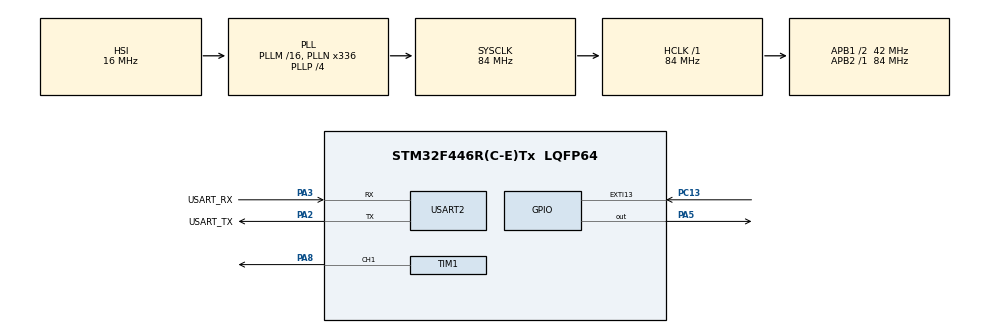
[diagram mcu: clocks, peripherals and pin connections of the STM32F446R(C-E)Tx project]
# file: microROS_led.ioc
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Dma.Request0=USART2_RX
Dma.Request1=USART2_TX
Dma.USART2_RX.0.Direction=DMA_PERIPH_TO_MEMORY
Dma.USART2_RX.0.FIFOMode=DMA_FIFOMODE_DISABLE
Dma.USART2_RX.0.Instance=DMA1_Stream5
Dma.USART2_RX.0.MemDataAlignment=DMA_MDATAALIGN_BYTE
Dma.USART2_RX.0.MemInc=DMA_MINC_ENABLE
Dma.USART2_RX.0.Mode=DMA_NORMAL
Dma.USART2_RX.0.PeriphDataAlignment=DMA_PDATAALIGN_BYTE
Dma.USART2_RX.0.PeriphInc=DMA_PINC_DISABLE
Dma.USART2_RX.0.Priority=DMA_PRIORITY_VERY_HIGH
Dma.USART2_TX.1.Direction=DMA_MEMORY_TO_PERIPH
Dma.USART2_TX.1.FIFOMode=DMA_FIFOMODE_DISABLE
Dma.USART2_TX.1.Instance=DMA1_Stream6
Dma.USART2_TX.1.MemDataAlignment=DMA_MDATAALIGN_BYTE
Dma.USART2_TX.1.MemInc=DMA_MINC_ENABLE
Dma.USART2_TX.1.Mode=DMA_NORMAL
Dma.USART2_TX.1.PeriphDataAlignment=DMA_PDATAALIGN_BYTE
Dma.USART2_TX.1.PeriphInc=DMA_PINC_DISABLE
Dma.USART2_TX.1.Priority=DMA_PRIORITY_VERY_HIGH
FREERTOS.Tasks01=defaultTask,24,3000,StartDefaultTask,Default,NULL,Dynamic,NULL,NULL;Fade,8,200,StartTask02,Default,NULL,Dynamic,NULL,NULL
FREERTOS.configTOTAL_HEAP_SIZE=50000
FREERTOS.configUSE_NEWLIB_REENTRANT=1
IWDG.Prescaler=IWDG_PRESCALER_64
IWDG.Reload=2500
Mcu.Family=STM32F4
Mcu.Name=STM32F446R(C-E)Tx
Mcu.Package=LQFP64
NUCLEO-F446RE.BUTTON=1
NUCLEO-F446RE.LD1=true
NVIC.DMA1_Stream5_IRQn=true\:5\:0\:false\:false\:true\:true\:false\:true\:true
NVIC.DMA1_Stream6_IRQn=true\:5\:0\:false\:false\:true\:true\:false\:true\:true
NVIC.EXTI15_10_IRQn=true\:5\:0\:false\:false\:true\:true\:false\:true\:true
NVIC.PriorityGroup=NVIC_PRIORITYGROUP_4
NVIC.TIM6_DAC_IRQn=true\:15\:0\:false\:false\:true\:false\:false\:true\:true
NVIC.TimeBase=TIM6_DAC_IRQn
NVIC.TimeBaseIP=TIM6
NVIC.USART2_IRQn=true\:5\:0\:false\:false\:true\:true\:true\:true\:true
PA13.GPIO_Label=TMS
PA13.Signal=SYS_JTMS-SWDIO
PA14.GPIO_Label=TCK
PA14.Signal=SYS_JTCK-SWCLK
PA2.GPIO_Label=USART_TX
PA2.Mode=Asynchronous
PA2.Signal=USART2_TX
PA3.GPIO_Label=USART_RX
PA3.Mode=Asynchronous
PA3.Signal=USART2_RX
PA5.Signal=GPIO_Output
PA8.Signal=S_TIM1_CH1
PB3.GPIO_Label=SWO
PB3.Signal=SYS_JTDO-SWO
PC13.Signal=GPXTI13
PC14-OSC32_IN.Signal=RCC_OSC32_IN
PC15-OSC32_OUT.Signal=RCC_OSC32_OUT
PH0-OSC_IN.Signal=RCC_OSC_IN
PH1-OSC_OUT.Signal=RCC_OSC_OUT
ProjectManager.HeapSize=0x200
ProjectManager.StackSize=0x400
ProjectManager.TargetToolchain=STM32CubeIDE
RCC.AHBFreq_Value=84000000
RCC.APB1CLKDivider=RCC_HCLK_DIV2
RCC.APB1Freq_Value=42000000
RCC.APB1TimFreq_Value=84000000
RCC.APB2Freq_Value=84000000
RCC.APB2TimFreq_Value=84000000
RCC.CortexFreq_Value=84000000
RCC.FLatency-AdvancedSettings=FLASH_LATENCY_2
RCC.HCLKFreq_Value=84000000
RCC.HSE_VALUE=8000000
RCC.HSI_VALUE=16000000
RCC.LSE_VALUE=32768
RCC.PLLN=336
RCC.PLLP=RCC_PLLP_DIV4
RCC.SYSCLKFreq_VALUE=84000000
RCC.SYSCLKSource=RCC_SYSCLKSOURCE_PLLCLK
RCC.USBFreq_Value=168000000
RCC.VCOOutputFreq_Value=336000000
SH.S_TIM1_CH1.0=TIM1_CH1,PWM Generation1 CH1
TIM1.Channel-PWM\ Generation1\ CH1=TIM_CHANNEL_1
TIM1.Prescaler=83
USART2.VirtualMode=VM_ASYNC
VP_FREERTOS_VS_CMSIS_V2.Mode=CMSIS_V2
VP_IWDG_VS_IWDG.Mode=IWDG_Activate
VP_NUCLEO-F446RE_VS_BSP_COMMON.Mode=COMMON
VP_SYS_VS_tim6.Mode=TIM6
board=NUCLEO-F446RE

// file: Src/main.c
/* USER CODE BEGIN Header */
/**
  ******************************************************************************
  * @file           : main.c
  * @brief          : Main program body
  ******************************************************************************
  * @attention
  *
  * Copyright (c) 2026 STMicroelectronics.
  * All rights reserved.
  *
  * This software is licensed under terms that can be found in the LICENSE file
  * in the root directory of this software component.
  * If no LICENSE file comes with this software, it is provided AS-IS.
  *
  ******************************************************************************
  */
/* USER CODE END Header */
#include "main.h"
#include "cmsis_os.h"
#include "dma.h"
#include "iwdg.h"
#include "tim.h"
#include "usart.h"
#include "gpio.h"

/* USER CODE BEGIN Includes */
#include "rcl/rcl.h"
#include "rclc/rclc.h"
#include "rclc/executor.h"
#include <uxr/client/transport.h>
#include <rmw_microxrcedds_c/config.h>
#include "rmw_microros/rmw_microros.h"
#include <std_msgs/msg/int32.h>

/* USER CODE END Includes */

/* USER CODE BEGIN PTD */
typedef enum states {
  WAITING_AGENT,
  AGENT_AVAILABLE,
  AGENT_CONNECTED,
  AGENT_DISCONNECTED
} state_t;

state_t state = WAITING_AGENT;
uint32_t last_ping_time = 0;
const uint32_t HEARTBEAT_INTERVAL_MS = 1000;
/* USER CODE END PTD */

void SystemClock_Config(void);
void MX_FREERTOS_Init(void);
/* USER CODE BEGIN PFP */
void StartDefaultTask(void *argument);
void StartTask02(void *argument);
/* USER CODE END PFP */

int main(void)
{

  /* MCU Configuration--------------------------------------------------------*/

  /* Reset of all peripherals, Initializes the Flash interface and the Systick. */
  HAL_Init();

  /* Configure the system clock */
  SystemClock_Config();

  /* Initialize all configured peripherals */
  MX_GPIO_Init();
  MX_DMA_Init();
  MX_USART2_UART_Init();
  MX_TIM1_Init();
  MX_IWDG_Init();

  /* Init scheduler */
  osKernelInitialize();  /* Call init function for freertos objects (in cmsis_os2.c) */
  MX_FREERTOS_Init();

  /* Initialize leds */
  BSP_LED_Init(LED2);

  /* Initialize USER push-button, will be used to trigger an interrupt each time it's pressed.*/
  BSP_PB_Init(BUTTON_USER, BUTTON_MODE_EXTI);

  /* Start scheduler */
  osKernelStart();

  /* We should never get here as control is now taken by the scheduler */

  /* Infinite loop */
  /* USER CODE BEGIN WHILE */

  // 1. Mark the start time of the connection attempt
  uint32_t start_time = HAL_GetTick();
  uint8_t connected = 0;
  int a= -1;

  while ((HAL_GetTick() - start_time) < 5000)
  {
      // Keep feeding the watchdog as long as we are within the 5-second window
//      HAL_IWDG_Refresh(&hiwdg);
//      int a= hiwdg->In
      // Attempt your connection (must be a non-blocking check)
      state = (RMW_RET_OK == rmw_uros_ping_agent(100, 3)) ? AGENT_AVAILABLE : WAITING_AGENT;
      if (state == AGENT_AVAILABLE)
      {
    	  //printf("Connected\n");

    	  if (__HAL_RCC_GET_FLAG(RCC_FLAG_IWDGRST)) {

    	         a = 1;
    	         // Clear the flags so it doesn't trigger false positives next boot
    	         __HAL_RCC_CLEAR_RESET_FLAGS();
    	     } else {
    	         a = 0;
    	     }
          connected = 1;
          break; // Exit loop early if connection succeeds
      }

      HAL_Delay(10); // Small yielding pause

  }

  // 2. If connection failed, trigger the hardware watchdog reset
  if (!connected)
  {
      /*
       * Trap the CPU here. Because we stopped calling HAL_IWDG_Refresh(),
       * the IWDG counter will hit 0 and trigger a hard system reset.
       */
//	  while(1){
//
//	  }
//     NVIC_SystemReset();
//     N

  }
  // 3. Continue regular application code here if connected == 1

  while (1)
  {

    /* USER CODE END WHILE */

  }
}

void SystemClock_Config(void)
{
  RCC_OscInitTypeDef RCC_OscInitStruct = {0};
  RCC_ClkInitTypeDef RCC_ClkInitStruct = {0};

  /** Configure the main internal regulator output voltage
  */
  __HAL_RCC_PWR_CLK_ENABLE();
  __HAL_PWR_VOLTAGESCALING_CONFIG(PWR_REGULATOR_VOLTAGE_SCALE3);

  /** Initializes the RCC Oscillators according to the specified parameters
  * in the RCC_OscInitTypeDef structure.
  */
  RCC_OscInitStruct.OscillatorType = RCC_OSCILLATORTYPE_HSI|RCC_OSCILLATORTYPE_LSI;
  RCC_OscInitStruct.HSIState = RCC_HSI_ON;
  RCC_OscInitStruct.HSICalibrationValue = RCC_HSICALIBRATION_DEFAULT;
  RCC_OscInitStruct.LSIState = RCC_LSI_ON;
  RCC_OscInitStruct.PLL.PLLState = RCC_PLL_ON;
  RCC_OscInitStruct.PLL.PLLSource = RCC_PLLSOURCE_HSI;
  RCC_OscInitStruct.PLL.PLLM = 16;
  RCC_OscInitStruct.PLL.PLLN = 336;
  RCC_OscInitStruct.PLL.PLLP = RCC_PLLP_DIV4;
  RCC_OscInitStruct.PLL.PLLQ = 2;
  RCC_OscInitStruct.PLL.PLLR = 2;
  if (HAL_RCC_OscConfig(&RCC_OscInitStruct) != HAL_OK)
  {
    Error_Handler();
  }

  /** Initializes the CPU, AHB and APB buses clocks
  */
  RCC_ClkInitStruct.ClockType = RCC_CLOCKTYPE_HCLK|RCC_CLOCKTYPE_SYSCLK
                              |RCC_CLOCKTYPE_PCLK1|RCC_CLOCKTYPE_PCLK2;
  RCC_ClkInitStruct.SYSCLKSource = RCC_SYSCLKSOURCE_PLLCLK;
  RCC_ClkInitStruct.AHBCLKDivider = RCC_SYSCLK_DIV1;
  RCC_ClkInitStruct.APB1CLKDivider = RCC_HCLK_DIV2;
  RCC_ClkInitStruct.APB2CLKDivider = RCC_HCLK_DIV1;

  if (HAL_RCC_ClockConfig(&RCC_ClkInitStruct, FLASH_LATENCY_2) != HAL_OK)
  {
    Error_Handler();
  }
}

void HAL_TIM_PeriodElapsedCallback(TIM_HandleTypeDef *htim)
{
  if (htim->Instance == TIM6)
  {
    HAL_IncTick();
  }
}

void Error_Handler(void)
{
  __disable_irq();
  while (1)
  {
  }
}

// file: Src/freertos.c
/* USER CODE BEGIN Header */
/**
  ******************************************************************************
  * File Name          : freertos.c
  * Description        : Code for freertos applications
  ******************************************************************************
  * @attention
  *
  * Copyright (c) 2026 STMicroelectronics.
  * All rights reserved.
  *
  * This software is licensed under terms that can be found in the LICENSE file
  * in the root directory of this software component.
  * If no LICENSE file comes with this software, it is provided AS-IS.
  *
  ******************************************************************************
  */
/* USER CODE END Header */

#include "FreeRTOS.h"
#include "task.h"
#include "main.h"
#include "cmsis_os.h"

/* USER CODE BEGIN Includes */
#include <string.h>
#include <stdio.h>
#include <rcl/rcl.h>
#include <rcl/error_handling.h>
#include <rclc/rclc.h>
#include <rclc/executor.h>
#include <uxr/client/transport.h>
#include <rmw_microxrcedds_c/config.h>
#include <rmw_microros/rmw_microros.h>
#include <std_msgs/msg/string.h>
#include <std_msgs/msg/int32.h>
#include <std_msgs/msg/bool.h>
#include "sys/time.h"
#include "iwdg.h"
/* USER CODE END Includes */

/* USER CODE BEGIN Variables */
extern UART_HandleTypeDef huart2;
extern TIM_HandleTypeDef htim1;

bool cubemx_transport_open(struct uxrCustomTransport * transport);
bool cubemx_transport_close(struct uxrCustomTransport * transport);
size_t cubemx_transport_write(struct uxrCustomTransport* transport, const uint8_t * buf, size_t len, uint8_t * err);
size_t cubemx_transport_read(struct uxrCustomTransport* transport, uint8_t * buf, size_t len, int timeout, uint8_t * err);

#define LED_PORT GPIOA
#define LED_PIN GPIO_PIN_5

rcl_subscription_t led_control_subscriber;
rcl_subscription_t fade_speed_subscriber;
rcl_subscription_t custom_message_subscriber;

std_msgs__msg__Bool   led_control_msg;
std_msgs__msg__Int32  fade_speed_msg;
std_msgs__msg__String custom_message_msg;
char custom_message_buffer[50];

rcl_publisher_t counter_publisher;
rcl_publisher_t string_publisher;
std_msgs__msg__Int32 counter_msg;
std_msgs__msg__String string_msg;
char string_buffer[50];
rcl_timer_t timer;

void * microros_allocate(size_t size, void * state);
void microros_deallocate(void * pointer, void * state);
void * microros_reallocate(void * pointer, size_t size, void * state);
void * microros_zero_allocate(size_t number_of_elements, size_t size_of_element, void * state);

volatile bool led_manual_override = false;
volatile bool led_manual_state = false;
volatile int32_t fade_step = 10;          // default step size, same as before
volatile bool custom_message_active = false;
char custom_message_storage[50];

/* USER CODE END Variables */
/* Definitions for defaultTask */
osThreadId_t defaultTaskHandle;
const osThreadAttr_t defaultTask_attributes = {
  .name = "defaultTask",
  .stack_size = 3000 * 4,
  .priority = (osPriority_t) osPriorityNormal,
};
/* Definitions for Fade */
osThreadId_t FadeHandle;
const osThreadAttr_t Fade_attributes = {
  .name = "Fade",
  .stack_size = 200 * 4,
  .priority = (osPriority_t) osPriorityLow,
};

void StartDefaultTask(void *argument);
void StartTask02(void *argument);

void MX_FREERTOS_Init(void); /* (MISRA C 2004 rule 8.1) */

void MX_FREERTOS_Init(void) {

  /* Create the thread(s) */
  /* creation of defaultTask */
  defaultTaskHandle = osThreadNew(StartDefaultTask, NULL, &defaultTask_attributes);

  /* creation of Fade */
  FadeHandle = osThreadNew(StartTask02, NULL, &Fade_attributes);

}

/* USER CODE BEGIN Header_StartDefaultTask */
void timer_callback(rcl_timer_t * timer, int64_t last_call_time)
{
  (void) last_call_time;
  if (timer != NULL) {

    if (led_manual_override) {
      HAL_GPIO_WritePin(LED_PORT, LED_PIN, led_manual_state ? GPIO_PIN_SET : GPIO_PIN_RESET);
    } else {
      HAL_GPIO_TogglePin(LED_PORT, LED_PIN);
    }

    rcl_ret_t ret1 = rcl_publish(&counter_publisher, &counter_msg, NULL);
    (void)ret1;
    counter_msg.data++;

    if (custom_message_active) {
      snprintf(string_buffer, sizeof(string_buffer), "%s", custom_message_storage);
    } else {
      snprintf(string_buffer, sizeof(string_buffer), "Hello from Nucleo! count=%ld", (long)counter_msg.data);
    }
    string_msg.data.data = string_buffer;
    string_msg.data.size = strlen(string_buffer);
    string_msg.data.capacity = sizeof(string_buffer);
    rcl_ret_t ret2 = rcl_publish(&string_publisher, &string_msg, NULL);
    (void)ret2;
  }
}

int _gettimeofday(struct timeval *tv, void *tzvp) {
  (void)tzvp;
  uint32_t tick = HAL_GetTick();
  tv->tv_sec = tick / 1000;
  tv->tv_usec = (tick % 1000) * 1000;
  return 0;
}

void led_control_callback(const void *msgin) {
  const std_msgs__msg__Bool * msg = (const std_msgs__msg__Bool *) msgin;
  led_manual_override = true;
  led_manual_state = msg->data;
}

void fade_speed_callback(const void *msgin) {
  const std_msgs__msg__Int32 * msg = (const std_msgs__msg__Int32 *) msgin;
  if (msg->data >= 0 && msg->data <= 999) {
    fade_step = msg->data;
  }
}

void custom_message_callback(const void * msgin) {
  const std_msgs__msg__String * msg = (const std_msgs__msg__String *) msgin;
  size_t len = msg->data.size;
  if (len >= sizeof(custom_message_storage)) {
    len = sizeof(custom_message_storage) - 1;
  }
  memcpy(custom_message_storage, msg->data.data, len);
  custom_message_storage[len] = '\0';
  custom_message_active = true;
}
/**
  * @brief  Function implementing the defaultTask thread.
  * @param  argument: Not used
  * @retval None
  */
/* USER CODE END Header_StartDefaultTask */
void StartDefaultTask(void *argument)
{
  /* USER CODE BEGIN StartDefaultTask */
	rmw_uros_set_custom_transport(
	    true,
	    (void *) &huart2,
	    cubemx_transport_open,
	    cubemx_transport_close,
	    cubemx_transport_write,
	    cubemx_transport_read);

	  rcl_allocator_t allocator = rcl_get_default_allocator();
	  rclc_support_t support;
	  rclc_support_init(&support, 0, NULL, &allocator);

	  rcl_node_t node;
	  rclc_node_init_default(&node, "nucleo_led_node", "", &support);

	  HAL_IWDG_Refresh(&hiwdg);
	  rclc_publisher_init_default(
	    &counter_publisher,
	    &node,
	    ROSIDL_GET_MSG_TYPE_SUPPORT(std_msgs, msg, Int32),
	    "led_blink_count");
	  HAL_IWDG_Refresh(&hiwdg);
	  rclc_publisher_init_default(
	    &string_publisher,
	    &node,
	    ROSIDL_GET_MSG_TYPE_SUPPORT(std_msgs, msg, String),
	    "nucleo_chatter");
	  HAL_IWDG_Refresh(&hiwdg);
	  rclc_subscription_init_default(
		&led_control_subscriber, &node,
		ROSIDL_GET_MSG_TYPE_SUPPORT(std_msgs, msg, Bool),
		"led_control"
	  );
	  HAL_IWDG_Refresh(&hiwdg);
	  rclc_subscription_init_default(
		&fade_speed_subscriber, &node,
		ROSIDL_GET_MSG_TYPE_SUPPORT(std_msgs, msg, Int32),
		"fade_speed"
	  );
	  HAL_IWDG_Refresh(&hiwdg);
	  rclc_subscription_init_default(
			  &custom_message_subscriber, &node,
			  ROSIDL_GET_MSG_TYPE_SUPPORT(std_msgs,msg, String),
			  "custom_message"
			  );
	  HAL_IWDG_Refresh(&hiwdg);
	  const unsigned int timer_period_ms = 500;
	  rclc_timer_init_default2(
	    &timer,
	    &support,
	    RCL_MS_TO_NS(timer_period_ms),
	    timer_callback,
		true);
	  HAL_IWDG_Refresh(&hiwdg);
	  rclc_executor_t executor;
	  rclc_executor_init(&executor, &support.context, 4, &allocator);
	  rclc_executor_add_timer(&executor, &timer);

	  rclc_executor_add_subscription(
	    &executor, &led_control_subscriber, &led_control_msg,
	    &led_control_callback, ON_NEW_DATA);

	  rclc_executor_add_subscription(
	    &executor, &fade_speed_subscriber, &fade_speed_msg,
	    &fade_speed_callback, ON_NEW_DATA);
	  HAL_IWDG_Refresh(&hiwdg);
	  custom_message_msg.data.data = custom_message_buffer;
	    custom_message_msg.data.size = 0;
	    custom_message_msg.data.capacity = sizeof(custom_message_buffer);

	    rclc_executor_add_subscription(
	      &executor, &custom_message_subscriber, &custom_message_msg,
	      &custom_message_callback, ON_NEW_DATA);

	  counter_msg.data = 0;
	  HAL_IWDG_Refresh(&hiwdg);
  /* Infinite loop */
  for(;;)
  {
	  rclc_executor_spin_some(&executor, RCL_MS_TO_NS(100));
	  HAL_IWDG_Refresh(&hiwdg);
	  osDelay(1);
  }
  /* USER CODE END StartDefaultTask */
}

void StartTask02(void *argument)
{
  /* USER CODE BEGIN StartTask02 */
	HAL_TIM_PWM_Start(&htim1, TIM_CHANNEL_1);

	  uint32_t max_duty = 999;  // 999, from ARR
	  int32_t duty = 0;
	  int8_t direction = 1;
  /* Infinite loop */
  for(;;)
  {
	  __HAL_TIM_SET_COMPARE(&htim1, TIM_CHANNEL_1, duty);

	      duty += direction * 10;
	      if (duty >= (int32_t)max_duty) {
	        duty = max_duty;
	        direction = -1;
	      } else if (duty <= 0) {
	        duty = 0;
	        direction = 1;
	      }

	      osDelay(5);
  }
  /* USER CODE END StartTask02 */
}
